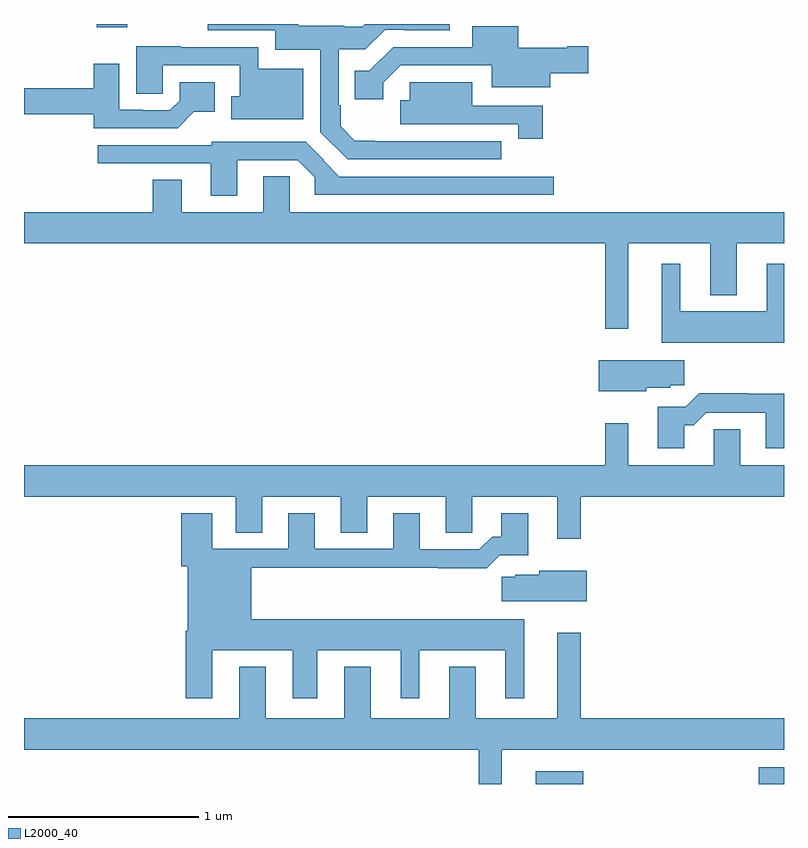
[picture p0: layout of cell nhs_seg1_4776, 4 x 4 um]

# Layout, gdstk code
import gdstk
lib = gdstk.Library(unit=1e-6, precision=1e-09)
def R(c, l, rs):  # rectangles x0, y0, x1, y1
    for r in rs: c.add(gdstk.rectangle(r[:2], r[2:], *l))
def P(c, l, *ps):  # polygons
    for p in ps: c.add(gdstk.Polygon(p, *l))
L2000_40 = (2000, 40)

nhs_seg1_4776 = lib.new_cell('nhs_seg1_4776')
R(nhs_seg1_4776, L2000_40, [(371.693,570.199,371.944,570.265), (372.867,570.199,373,570.288), (369.383,574.182,369.543,574.199)])
P(nhs_seg1_4776, L2000_40, [(371.512,573.582),(370.846,573.582),(370.846,573.585),(370.742,573.585),(370.666,573.66),(370.666,573.772),(370.656,573.772),(370.656,574.065),(370.797,574.065),(370.902,574.17),(371.002,574.17),(371.002,574.167),(371.242,574.167),(371.242,574.199),(370.793,574.199),(370.779,574.185),(370.685,574.185),(370.685,574.189),(370.444,574.189),(370.444,574.199),(369.966,574.199),(369.966,574.167),(370.322,574.167),(370.322,574.064),(370.56,574.064),(370.56,573.629),(370.703,573.486),(371.512,573.486)],
  [(370.891,573.889),(370.983,573.981),(371.462,573.981),(371.462,573.866),(371.77,573.866),(371.77,573.941),(371.971,573.941),(371.971,574.083),(371.858,574.083),(371.858,574.075),(371.602,574.075),(371.602,574.186),(371.36,574.186),(371.36,574.077),(370.943,574.077),(370.818,573.952),(370.741,573.952),(370.741,573.804),(370.891,573.804)],
  [(370.471,573.964),(370.233,573.964),(370.233,574.077),(369.826,574.077),(369.826,574.082),(369.59,574.082),(369.59,573.832),(369.729,573.832),(369.729,573.981),(370.136,573.981),(370.136,573.82),(370.09,573.82),(370.09,573.698),(370.471,573.698)],
  [(369.894,573.737),(370.005,573.737),(370.005,573.892),(369.819,573.892),(369.819,573.795),(369.768,573.744),(369.626,573.744),(369.626,573.747),(369.502,573.747),(369.502,573.991),(369.368,573.991),(369.368,573.86),(369,573.86),(369,573.724),(369.368,573.724),(369.368,573.651),(369.808,573.651)],
  [(371.731,573.768),(371.359,573.768),(371.359,573.892),(371.03,573.892),(371.03,573.799),(370.979,573.799),(370.979,573.671),(371.255,573.671),(371.255,573.672),(371.6,573.672),(371.6,573.594),(371.731,573.594)],
  [(370.123,573.483),(370.44,573.483),(370.531,573.393),(370.531,573.3),(371.788,573.3),(371.788,573.396),(370.659,573.396),(370.574,573.481),(370.577,573.484),(370.482,573.579),(369.987,573.579),(369.987,573.561),(369.387,573.561),(369.387,573.465),(369.983,573.465),(369.983,573.294),(370.123,573.294)],
  [(372.181,573.044),(372.611,573.044),(372.611,572.771),(372.751,572.771),(372.751,573.044),(373,573.044),(373,573.208),(370.398,573.208),(370.398,573.398),(370.259,573.398),(370.259,573.208),(369.829,573.208),(369.829,573.38),(369.677,573.38),(369.677,573.208),(369,573.208),(369,573.044),(372.06,573.044),(372.06,572.595),(372.181,572.595)],
  [(373,572.938),(372.908,572.938),(372.908,572.686),(372.454,572.686),(372.454,572.938),(372.356,572.938),(372.356,572.522),(373,572.522)],
  [(372.276,572.285),(372.402,572.285),(372.402,572.299),(372.475,572.299),(372.475,572.428),(372.026,572.428),(372.026,572.267),(372.276,572.267)],
  [(372.475,572.087),(372.524,572.087),(372.591,572.154),(372.905,572.154),(372.905,571.965),(373,571.965),(373,572.252),(372.809,572.252),(372.809,572.255),(372.554,572.255),(372.483,572.184),(372.335,572.184),(372.335,571.965),(372.475,571.965)],
  [(373,571.876),(372.769,571.876),(372.769,572.066),(372.63,572.066),(372.63,571.876),(372.181,571.876),(372.181,572.098),(372.06,572.098),(372.06,571.876),(369,571.876),(369,571.712),(370.115,571.712),(370.115,571.522),(370.255,571.522),(370.255,571.712),(370.667,571.712),(370.667,571.522),(370.807,571.522),(370.807,571.712),(371.219,571.712),(371.219,571.522),(371.358,571.522),(371.358,571.712),(371.807,571.712),(371.807,571.491),(371.929,571.491),(371.929,571.712),(373,571.712)],
  [(369.991,570.902),(370.415,570.902),(370.415,570.651),(370.543,570.651),(370.543,570.902),(370.982,570.902),(370.982,570.651),(371.08,570.651),(371.08,570.902),(371.534,570.902),(371.534,570.651),(371.632,570.651),(371.632,571.066),(370.195,571.066),(370.195,571.336),(371.179,571.336),(371.179,571.334),(371.435,571.334),(371.505,571.404),(371.653,571.404),(371.653,571.624),(371.513,571.624),(371.513,571.501),(371.464,571.501),(371.397,571.434),(371.083,571.434),(371.083,571.624),(370.943,571.624),(370.943,571.437),(370.531,571.437),(370.531,571.624),(370.391,571.624),(370.391,571.437),(369.991,571.437),(369.991,571.624),(369.827,571.624),(369.827,571.344),(369.863,571.344),(369.863,571.006),(369.851,571.006),(369.851,570.651),(369.991,570.651)],
  [(371.962,571.321),(371.712,571.321),(371.712,571.3),(371.586,571.3),(371.586,571.289),(371.514,571.289),(371.514,571.16),(371.962,571.16)],
  [(371.515,570.38),(373,570.38),(373,570.544),(371.929,570.544),(371.929,570.994),(371.807,570.994),(371.807,570.544),(371.377,570.544),(371.377,570.817),(371.237,570.817),(371.237,570.544),(370.825,570.544),(370.825,570.817),(370.685,570.817),(370.685,570.544),(370.273,570.544),(370.273,570.817),(370.133,570.817),(370.133,570.544),(369,570.544),(369,570.38),(371.394,570.38),(371.394,570.199),(371.515,570.199)])

lib.write_gds('nhs_seg1_4776.gds')
